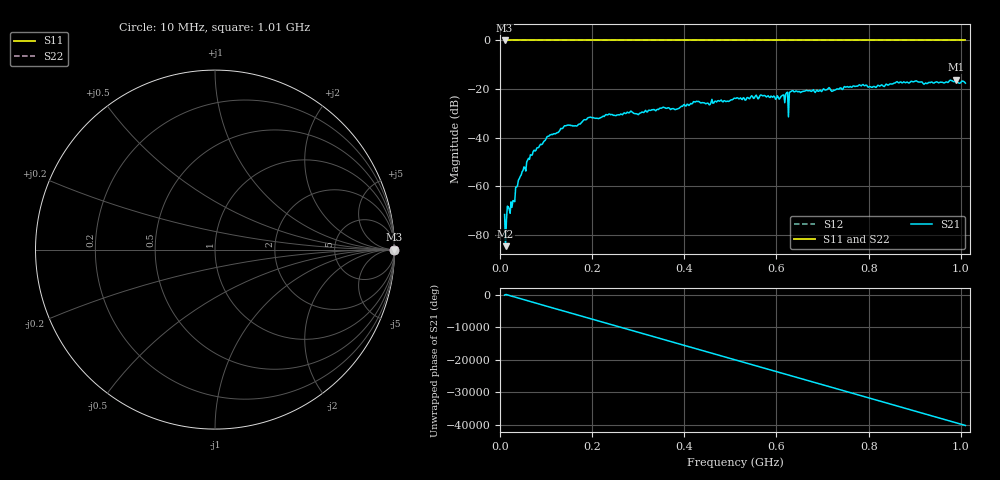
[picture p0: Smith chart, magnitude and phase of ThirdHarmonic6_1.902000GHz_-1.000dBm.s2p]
! 8/16/2025 10:57:28 PM
! C:\ANRITSUVNA\TEMP\TEMP.S2P
! CHANNEL.1
! TR.MEASUREMENT
! RAW.DATA
! RF.CORRECTION.OFF
! AVERAGING.OFF
! IF.BANDWIDTH: 5KHZ
! SWEEPTYPE:  FREQ.SWEEP(Linear)
! Reference Plane Port Info
! PORT:  PORT1  PORT2
! DISTANCE:  0  m  0  m
! TIME:  0  s  0  s
! PHASE.OFFSET:  0  deg.  0  deg.
! LOSS:  0  dB  0  dB
! REF.LOSS:  0  dB  0  dB
! REF.FREQ:  0  Hz  0  Hz
! Power Info
! POWER:  -20  dBm  -20  dBm
! EFF.POWER:  -20  dBm  -20  dBm
! SOURCE.ATTEN:  0  dB  0  dB
! TEST.ATTEN:  0  dB  0  dB
# GHZ S RI R 50.0
! FREQ.GHZ  S11RE  S11IM  S21RE  S21IM  S12RE  S12IM  S22RE  S22IM
!; PortSelection: Port_12
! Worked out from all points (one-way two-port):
!   501 points, 10 MHz to 1.01 GHz, reference 50 ohm
!   highest |S21| = -16.15 dB at 990 MHz (marker M1); lowest = -84.7 dB at 12 MHz (marker M2)
!   lowest |S11| = 0.0 dB at 10 MHz (marker M3)
!   |S11| at or under -10 dB: nowhere
!   |S22| runs from 0.0 to 0.0 dB; largest |S21 - S12| = 1.1
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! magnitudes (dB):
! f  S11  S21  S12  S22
! 10 MHz  0.0  -71.7  0.0  0.0
! 12 MHz  0.0  -84.7  0.0  0.0
! 16 MHz  0.0  -68.2  0.0  0.0
! 20 MHz  0.0  -69.5  0.0  0.0
! 28 MHz  0.0  -66.0  0.0  0.0
! 44 MHz  0.0  -56.0  0.0  0.0
! 70 MHz  0.0  -47.2  0.0  0.0
! 106 MHz  0.0  -39.4  0.0  0.0
! 142 MHz  0.0  -35.1  0.0  0.0
! 178 MHz  0.0  -33.6  0.0  0.0
! 194 MHz  0.0  -31.7  0.0  0.0
! 344 MHz  0.0  -28.4  0.0  0.0
! 382 MHz  0.0  -28.4  0.0  0.0
! 510 MHz  0.0  -23.8  0.0  0.0
! 620 MHz  0.0  -22.2  0.0  0.0
! 622 MHz  0.0  -21.5  0.0  0.0
! 630 MHz  0.0  -21.2  0.0  0.0
! 632 MHz  0.0  -21.0  0.0  0.0
! 678 MHz  0.0  -20.6  0.0  0.0
! 844 MHz  0.0  -18.2  0.0  0.0
! 990 MHz  0.0  -16.2  0.0  0.0
! 1.01 GHz  0.0  -17.6  0.0  0.0
